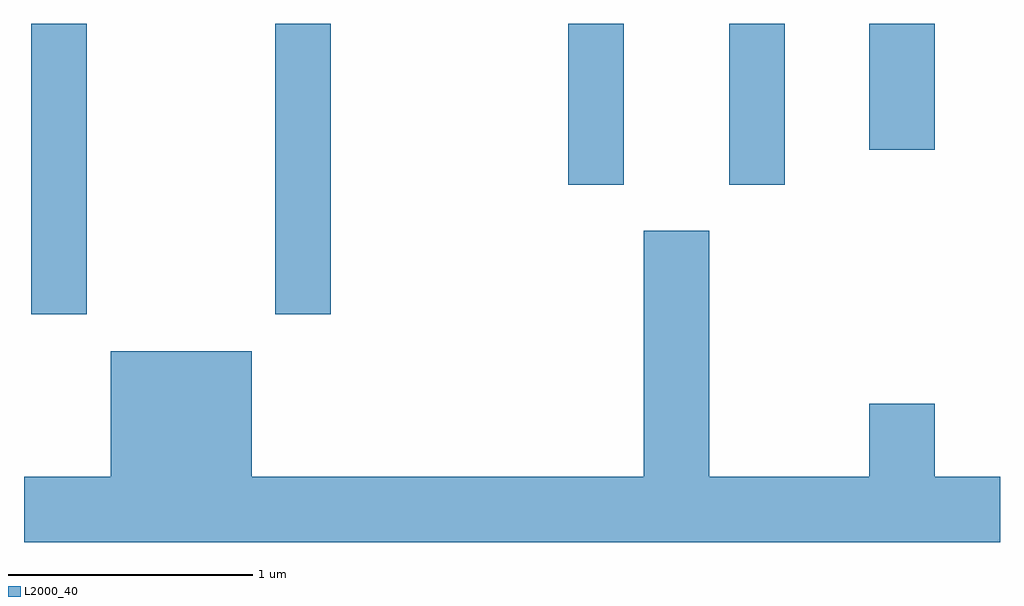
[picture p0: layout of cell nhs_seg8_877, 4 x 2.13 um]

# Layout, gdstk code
import gdstk
lib = gdstk.Library(unit=1e-6, precision=1e-09)
def R(c, l, rs):  # rectangles x0, y0, x1, y1
    for r in rs: c.add(gdstk.rectangle(r[:2], r[2:], *l))
def P(c, l, *ps):  # polygons
    for p in ps: c.add(gdstk.Polygon(p, *l))
L2000_40 = (2000, 40)

nhs_seg8_877 = lib.new_cell('nhs_seg8_877')
R(nhs_seg8_877, L2000_40, [(211.641,1815.151,211.869,1816.342), (212.641,1815.151,212.869,1816.342), (213.841,1815.681,214.069,1816.342), (214.501,1815.681,214.729,1816.342), (215.076,1815.826,215.344,1816.342)])
P(nhs_seg8_877, L2000_40, [(215.611,1814.484),(215.344,1814.484),(215.344,1814.784),(215.076,1814.784),(215.076,1814.484),(214.419,1814.484),(214.419,1815.494),(214.151,1815.494),(214.151,1814.484),(212.544,1814.484),(212.544,1814.999),(211.966,1814.999),(211.966,1814.484),(211.611,1814.484),(211.611,1814.216),(215.611,1814.216)])

lib.write_gds('nhs_seg8_877.gds')
